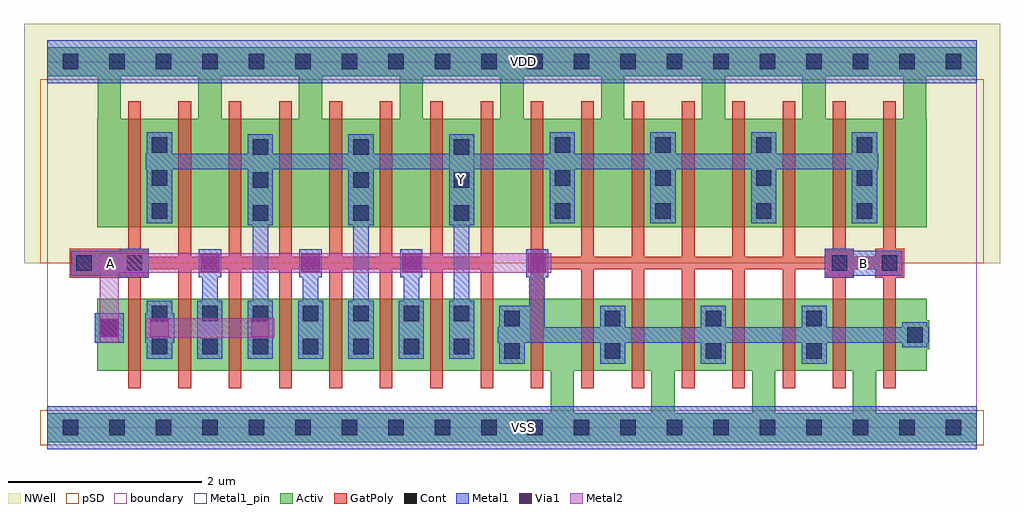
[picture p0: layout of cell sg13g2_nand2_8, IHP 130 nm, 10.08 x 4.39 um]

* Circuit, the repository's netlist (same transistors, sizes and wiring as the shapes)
.SUBCKT sg13g2_nand2_8 Y A B VDD VSS
*.PININFO A:I B:I Y:O VDD:B VSS:B
MP1 Y B VDD VDD sg13_lv_pmos w=8.96u l=130.00n ng=8
MP0 Y A VDD VDD sg13_lv_pmos w=8.96u l=130.00n ng=8
MN1 net1 B VSS VSS sg13_lv_nmos w=5.92u l=130.00n ng=8
MN0 Y A net1 VSS sg13_lv_nmos w=5.92u l=130.00n ng=8
.ENDS

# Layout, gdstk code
import gdstk
lib = gdstk.Library(unit=1e-6, precision=1e-09)
def R(c, l, rs):  # rectangles x0, y0, x1, y1
    for r in rs: c.add(gdstk.rectangle(r[:2], r[2:], *l))
def A(c, l, x, y, w, h, nx, ny, dx, dy):  # array of equal rectangles
    R(c, l, [(x+i*dx, y+j*dy, x+i*dx+w, y+j*dy+h) for i in range(nx) for j in range(ny)])
def P(c, l, *ps):  # polygons
    for p in ps: c.add(gdstk.Polygon(p, *l))
Activ = (1, 0)
GatPoly = (5, 0)
Cont = (6, 0)
Metal1 = (8, 0)
Metal1_pin = (8, 2)
Metal2 = (10, 0)
pSD = (14, 0)
Via1 = (19, 0)
NWell = (31, 0)
boundary = (189, 4)

sg13g2_nand2_8 = lib.new_cell('sg13g2_nand2_8')
P(sg13g2_nand2_8, Activ, [(5.2,0.15),(0,0.15),(0,-0.15),(9.6,-0.15),(9.6,0.15),(5.2,0.15),(5.44,0.15),(5.44,0.59),(6.24,0.59),(6.24,0.15),(6.48,0.15),(6.48,0.59),(7.28,0.59),(7.28,0.15),(7.52,0.15),(7.52,0.59),(8.32,0.59),(8.32,0.15),(8.56,0.15),(8.56,0.59),(9.085,0.59),(9.085,0.81),(9.11,0.81),(9.11,1.11),(9.085,1.11),(9.085,1.33),(0.515,1.33),(0.515,1.18),(0.49,1.18),(0.49,0.88),(0.515,0.88),(0.515,0.59),(5.2,0.59)],
  [(0.52,3.19),(0.76,3.19),(0.76,3.63),(1.56,3.63),(1.56,3.19),(1.8,3.19),(1.8,3.63),(2.6,3.63),(2.6,3.19),(2.84,3.19),(2.84,3.63),(3.64,3.63),(3.64,3.19),(3.88,3.19),(3.88,3.63),(4.68,3.63),(4.68,3.19),(4.92,3.19),(4.92,3.63),(5.72,3.63),(5.72,3.19),(5.96,3.19),(5.96,3.63),(6.76,3.63),(6.76,3.19),(7,3.19),(7,3.63),(7.8,3.63),(7.8,3.19),(8.04,3.19),(8.04,3.63),(8.84,3.63),(8.84,3.19),(9.08,3.19),(9.08,3.63),(9.6,3.63),(9.6,3.93),(0,3.93),(0,3.63),(0.52,3.63),(0.52,3.19),(0.515,3.19),(0.515,2.07),(9.085,2.07),(9.085,3.19)])
P(sg13g2_nand2_8, GatPoly, [(0.23,1.55),(0.835,1.55),(0.835,0.41),(0.965,0.41),(0.965,1.55),(1.05,1.55),(1.05,1.635),(1.355,1.635),(1.355,0.41),(1.485,0.41),(1.485,1.635),(1.875,1.635),(1.875,0.41),(2.005,0.41),(2.005,1.635),(2.395,1.635),(2.395,0.41),(2.525,0.41),(2.525,1.635),(2.915,1.635),(2.915,0.41),(3.045,0.41),(3.045,1.635),(3.435,1.635),(3.435,0.41),(3.565,0.41),(3.565,1.635),(3.955,1.635),(3.955,0.41),(4.085,0.41),(4.085,1.635),(4.475,1.635),(4.475,0.41),(4.605,0.41),(4.605,3.37),(4.475,3.37),(4.475,1.765),(4.085,1.765),(4.085,3.37),(3.955,3.37),(3.955,1.765),(3.565,1.765),(3.565,3.37),(3.435,3.37),(3.435,1.765),(3.045,1.765),(3.045,3.37),(2.915,3.37),(2.915,1.765),(2.525,1.765),(2.525,3.37),(2.395,3.37),(2.395,1.765),(2.005,1.765),(2.005,3.37),(1.875,3.37),(1.875,1.765),(1.485,1.765),(1.485,3.37),(1.355,3.37),(1.355,1.765),(1.05,1.765),(1.05,1.85),(0.965,1.85),(0.965,3.37),(0.835,3.37),(0.835,1.85),(0.23,1.85)],
  [(4.995,0.41),(5.125,0.41),(5.125,1.635),(5.515,1.635),(5.515,0.41),(5.645,0.41),(5.645,1.635),(6.035,1.635),(6.035,0.41),(6.165,0.41),(6.165,1.635),(6.555,1.635),(6.555,0.41),(6.685,0.41),(6.685,1.635),(7.075,1.635),(7.075,0.41),(7.205,0.41),(7.205,1.635),(7.595,1.635),(7.595,0.41),(7.725,0.41),(7.725,1.635),(8.03,1.635),(8.03,1.55),(8.115,1.55),(8.115,0.41),(8.245,0.41),(8.245,1.55),(8.33,1.55),(8.33,1.635),(8.55,1.635),(8.55,1.55),(8.635,1.55),(8.635,0.41),(8.765,0.41),(8.765,1.55),(8.85,1.55),(8.85,1.85),(8.765,1.85),(8.765,3.37),(8.635,3.37),(8.635,1.85),(8.55,1.85),(8.55,1.765),(8.33,1.765),(8.33,1.85),(8.245,1.85),(8.245,3.37),(8.115,3.37),(8.115,1.85),(8.03,1.85),(8.03,1.765),(7.725,1.765),(7.725,3.37),(7.595,3.37),(7.595,1.765),(7.205,1.765),(7.205,3.37),(7.075,3.37),(7.075,1.765),(6.685,1.765),(6.685,3.37),(6.555,3.37),(6.555,1.765),(6.165,1.765),(6.165,3.37),(6.035,3.37),(6.035,1.765),(5.645,1.765),(5.645,3.37),(5.515,3.37),(5.515,1.765),(5.125,1.765),(5.125,3.37),(4.995,3.37)])
A(sg13g2_nand2_8, Cont, 0.16, -0.08, 0.16, 0.16, 20, 2, 0.48, 3.78)
A(sg13g2_nand2_8, Cont, 4.72, 0.71, 0.16, 0.16, 4, 2, 1.04, 0.34)
A(sg13g2_nand2_8, Cont, 1.08, 0.76, 0.16, 0.16, 7, 2, 0.52, 0.34)
A(sg13g2_nand2_8, Cont, 2.12, 2.14, 0.16, 0.16, 3, 3, 1.04, 0.34)
A(sg13g2_nand2_8, Cont, 1.08, 2.16, 0.16, 0.16, 1, 3, 0, 0.34)
A(sg13g2_nand2_8, Cont, 5.24, 2.16, 0.16, 0.16, 4, 3, 1.04, 0.34)
R(sg13g2_nand2_8, Cont, [(8.88,0.88,9.04,1.04), (0.56,0.95,0.72,1.11), (0.3,1.62,0.46,1.78), (0.82,1.62,0.98,1.78), (8.1,1.62,8.26,1.78), (8.62,1.62,8.78,1.78)])
R(sg13g2_nand2_8, Metal1, [(0,-0.22,9.6,0.22), (0.49,0.88,0.79,1.18), (0,3.56,9.6,4)])
P(sg13g2_nand2_8, Metal1, [(0.25,1.57),(0.75,1.57),(0.75,1.55),(1.05,1.55),(1.05,1.85),(0.75,1.85),(0.75,1.83),(0.25,1.83)],
  [(1.01,0.88),(1.03,0.88),(1.03,0.71),(1.29,0.71),(1.29,0.88),(1.31,0.88),(1.31,1.18),(1.29,1.18),(1.29,1.31),(1.03,1.31),(1.03,1.18),(1.01,1.18)],
  [(1.015,2.67),(1.03,2.67),(1.03,2.11),(1.29,2.11),(1.29,2.67),(2.07,2.67),(2.07,2.09),(2.12,2.09),(2.12,1.31),(2.07,1.31),(2.07,0.71),(2.33,0.71),(2.33,1.31),(2.28,1.31),(2.28,2.09),(2.33,2.09),(2.33,2.67),(3.11,2.67),(3.11,2.09),(3.16,2.09),(3.16,1.31),(3.11,1.31),(3.11,0.71),(3.37,0.71),(3.37,1.31),(3.32,1.31),(3.32,2.09),(3.37,2.09),(3.37,2.67),(4.15,2.67),(4.15,2.09),(4.2,2.09),(4.2,1.31),(4.15,1.31),(4.15,0.71),(4.41,0.71),(4.41,1.31),(4.36,1.31),(4.36,2.09),(4.41,2.09),(4.41,2.67),(5.19,2.67),(5.19,2.11),(5.45,2.11),(5.45,2.67),(6.23,2.67),(6.23,2.11),(6.49,2.11),(6.49,2.67),(7.27,2.67),(7.27,2.11),(7.53,2.11),(7.53,2.67),(8.31,2.67),(8.31,2.11),(8.57,2.11),(8.57,2.67),(8.585,2.67),(8.585,2.83),(8.57,2.83),(8.57,3.05),(8.31,3.05),(8.31,2.83),(7.53,2.83),(7.53,3.05),(7.27,3.05),(7.27,2.83),(6.49,2.83),(6.49,3.05),(6.23,3.05),(6.23,2.83),(5.45,2.83),(5.45,3.05),(5.19,3.05),(5.19,2.83),(4.41,2.83),(4.41,3.03),(4.15,3.03),(4.15,2.83),(3.37,2.83),(3.37,3.03),(3.11,3.03),(3.11,2.83),(2.33,2.83),(2.33,3.03),(2.07,3.03),(2.07,2.83),(1.29,2.83),(1.29,3.05),(1.03,3.05),(1.03,2.83),(1.015,2.83)],
  [(1.55,0.71),(1.81,0.71),(1.81,1.31),(1.76,1.31),(1.76,1.555),(1.795,1.555),(1.795,1.845),(1.565,1.845),(1.565,1.555),(1.6,1.555),(1.6,1.31),(1.55,1.31)],
  [(2.59,0.71),(2.85,0.71),(2.85,1.31),(2.8,1.31),(2.8,1.555),(2.835,1.555),(2.835,1.845),(2.605,1.845),(2.605,1.555),(2.64,1.555),(2.64,1.31),(2.59,1.31)],
  [(3.63,0.71),(3.89,0.71),(3.89,1.31),(3.84,1.31),(3.84,1.555),(3.875,1.555),(3.875,1.845),(3.645,1.845),(3.645,1.555),(3.68,1.555),(3.68,1.31),(3.63,1.31)],
  [(4.655,0.88),(4.67,0.88),(4.67,0.66),(4.93,0.66),(4.93,0.88),(5.71,0.88),(5.71,0.66),(5.97,0.66),(5.97,0.88),(6.75,0.88),(6.75,0.66),(7.01,0.66),(7.01,0.88),(7.79,0.88),(7.79,0.66),(8.05,0.66),(8.05,0.88),(8.83,0.88),(8.83,0.83),(9.09,0.83),(9.09,0.88),(9.105,0.88),(9.105,1.04),(9.09,1.04),(9.09,1.09),(8.83,1.09),(8.83,1.04),(8.05,1.04),(8.05,1.26),(7.79,1.26),(7.79,1.04),(7.01,1.04),(7.01,1.26),(6.75,1.26),(6.75,1.04),(5.97,1.04),(5.97,1.26),(5.71,1.26),(5.71,1.04),(5.14,1.04),(5.14,1.555),(5.175,1.555),(5.175,1.845),(4.945,1.845),(4.945,1.555),(4.98,1.555),(4.98,1.26),(4.67,1.26),(4.67,1.04),(4.655,1.04)],
  [(8.03,1.55),(8.33,1.55),(8.33,1.57),(8.83,1.57),(8.83,1.83),(8.33,1.83),(8.33,1.85),(8.03,1.85)])
R(sg13g2_nand2_8, Metal1_pin, [(0,-0.22,9.6,0.22), (0.25,1.57,1.05,1.83), (8.03,1.57,8.83,1.83), (4.15,2.09,4.41,3.03), (0,3.56,9.6,4)])
R(sg13g2_nand2_8, Metal2, [(1.015,0.93,2.345,1.13)])
P(sg13g2_nand2_8, Metal2, [(0.54,0.885),(0.74,0.885),(0.74,1.6),(5.205,1.6),(5.205,1.8),(0.54,1.8)])
R(sg13g2_nand2_8, pSD, [(-0.07,-0.18,9.67,0.18), (-0.07,1.7,9.67,3.6)])
A(sg13g2_nand2_8, Via1, 1.585, 1.605, 0.19, 0.19, 3, 1, 1.04, 0)
R(sg13g2_nand2_8, Via1, [(0.545,0.935,0.735,1.125), (1.065,0.935,1.255,1.125), (2.105,0.935,2.295,1.125), (4.965,1.605,5.155,1.795)])
R(sg13g2_nand2_8, NWell, [(-0.24,1.7,9.84,4.17)])
R(sg13g2_nand2_8, boundary, [(0,0,9.6,3.78)])
sg13g2_nand2_8.add(gdstk.Label('A', (0.65,1.7), layer=8, texttype=25))
sg13g2_nand2_8.add(gdstk.Label('Y', (4.28,2.56), layer=8, texttype=25))
sg13g2_nand2_8.add(gdstk.Label('B', (8.43,1.7), layer=8, texttype=25))
sg13g2_nand2_8.add(gdstk.Label('VSS', (4.92,0), layer=8, texttype=25))
sg13g2_nand2_8.add(gdstk.Label('VDD', (4.92,3.78), layer=8, texttype=25))

lib.write_gds('sg13g2_nand2_8.gds')
